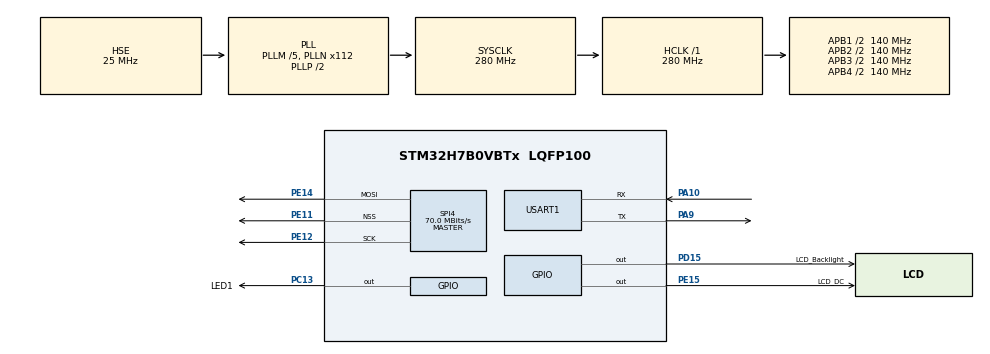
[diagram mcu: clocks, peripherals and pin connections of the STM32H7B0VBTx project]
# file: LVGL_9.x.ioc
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CORTEX_M7.CPU_DCache=Enabled
CORTEX_M7.CPU_ICache=Enabled
Mcu.Family=STM32H7
Mcu.Name=STM32H7B0VBTx
Mcu.Package=LQFP100
NVIC.PriorityGroup=NVIC_PRIORITYGROUP_4
PA10.Mode=Asynchronous
PA10.Signal=USART1_RX
PA13.Mode=Serial_Wire
PA13.Signal=DEBUG_JTMS-SWDIO
PA14.Mode=Serial_Wire
PA14.Signal=DEBUG_JTCK-SWCLK
PA9.Mode=Asynchronous
PA9.Signal=USART1_TX
PC13.GPIO_Label=LED1
PC13.Signal=GPIO_Output
PC14-OSC32_IN.Mode=LSE-External-Oscillator
PC14-OSC32_IN.Signal=RCC_OSC32_IN
PC15-OSC32_OUT.Mode=LSE-External-Oscillator
PC15-OSC32_OUT.Signal=RCC_OSC32_OUT
PD15.GPIO_Label=LCD_Backlight
PD15.GPIO_PuPd=GPIO_PULLDOWN
PD15.Signal=GPIO_Output
PE11.Mode=NSS_Signal_Hard_Output
PE11.Signal=SPI4_NSS
PE12.Mode=TX_Only_Simplex_Unidirect_Master
PE12.Signal=SPI4_SCK
PE14.Mode=TX_Only_Simplex_Unidirect_Master
PE14.Signal=SPI4_MOSI
PE15.GPIO_Label=LCD_DC
PE15.GPIO_Speed=GPIO_SPEED_FREQ_VERY_HIGH
PE15.Signal=GPIO_Output
PH0-OSC_IN.Mode=HSE-External-Oscillator
PH0-OSC_IN.Signal=RCC_OSC_IN
PH1-OSC_OUT.Mode=HSE-External-Oscillator
PH1-OSC_OUT.Signal=RCC_OSC_OUT
ProjectManager.HeapSize=0x1000
ProjectManager.StackSize=0x1000
ProjectManager.TargetToolchain=STM32CubeIDE
RCC.ADCFreq_Value=50390625
RCC.APB1Freq_Value=140000000
RCC.APB2Freq_Value=140000000
RCC.APB3Freq_Value=140000000
RCC.APB4Freq_Value=140000000
RCC.CDPPRE=RCC_APB3_DIV2
RCC.CDPPRE1=RCC_APB1_DIV2
RCC.CDPPRE2=RCC_APB2_DIV2
RCC.CortexFreq_Value=280000000
RCC.DIVM1=5
RCC.DIVN1=112
RCC.HCLKFreq_Value=280000000
RCC.HSE_VALUE=25000000
RCC.PLLFRACN=0
RCC.PLLSourceVirtual=RCC_PLLSOURCE_HSE
RCC.SRDPPRE=RCC_APB4_DIV2
RCC.SYSCLKFreq_VALUE=280000000
RCC.SYSCLKSource=RCC_SYSCLKSOURCE_PLLCLK
RCC.USBFreq_Value=280000000
SPI4.CalculateBaudRate=70.0 MBits/s
SPI4.DataSize=SPI_DATASIZE_8BIT
SPI4.Direction=SPI_DIRECTION_2LINES_TXONLY
SPI4.Mode=SPI_MODE_MASTER
SPI4.VirtualNSS=VM_NSSHARD
SPI4.VirtualType=VM_MASTER
USART1.VirtualMode-Asynchronous=VM_ASYNC
VP_MEMORYMAP_VS_MEMORYMAP.Mode=CurAppReg
board=custom

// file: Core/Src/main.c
/* USER CODE BEGIN Header */
/**
  ******************************************************************************
  * @file           : main.c
  * @brief          : Main program body
  ******************************************************************************
  * @attention
  *
  * Copyright (c) 2024 STMicroelectronics.
  * All rights reserved.
  *
  * This software is licensed under terms that can be found in the LICENSE file
  * in the root directory of this software component.
  * If no LICENSE file comes with this software, it is provided AS-IS.
  *
  ******************************************************************************
  */
/* USER CODE END Header */
#include "main.h"
#include "memorymap.h"
#include "spi.h"
#include "usart.h"
#include "gpio.h"

/* USER CODE BEGIN Includes */
#include "lvgl.h"
#include "lv_port_disp.h"
#include "lv_demo_benchmark.h"
/* USER CODE END Includes */

/* USER CODE BEGIN PV */
uint16_t color[26] = {
		RED, RED, RED, RED, RED,
		RED, RED, RED, RED, RED,
		RED, RED, RED, RED, RED,
		RED, RED, RED, RED, RED,
		RED, RED, RED, RED, RED
};

/* USER CODE END PV */

void SystemClock_Config(void);

int main(void)
{

	/* Enable the CPU Cache */

	/* Enable I-Cache---------------------------------------------------------*/
	//SCB_EnableICache();

	/* Enable D-Cache---------------------------------------------------------*/
	//SCB_EnableDCache();

	/* MCU Configuration--------------------------------------------------------*/

	/* Reset of all peripherals, Initializes the Flash interface and the Systick. */
	HAL_Init();

	/* Configure the system clock */
	SystemClock_Config();

	/* Initialize all configured peripherals */
	MX_GPIO_Init();
	MX_SPI4_Init();
	MX_USART1_UART_Init();
	/* USER CODE BEGIN 2 */
	RetargetInit(&huart1);
	printf("uart init finsh\r\n");
	lv_init();                                  /* lvgl系统初始化 */
	lv_port_disp_init();                        /* lvgl显示接口初始化,放在lv_init()的后面 */
	lv_demo_benchmark();
	/* USER CODE END 2 */

	/* Infinite loop */
	/* USER CODE BEGIN WHILE */
	while (1)
	{
		lv_task_handler();
//		LED1_Toggle;
//		HAL_Delay(3);
		/* USER CODE END WHILE */

	}
}

void SystemClock_Config(void)
{
	RCC_OscInitTypeDef RCC_OscInitStruct = {0};
	RCC_ClkInitTypeDef RCC_ClkInitStruct = {0};

	/*AXI clock gating */
	RCC->CKGAENR = 0xFFFFFFFF;

	/** Supply configuration update enable
	*/
	HAL_PWREx_ConfigSupply(PWR_LDO_SUPPLY);

	/** Configure the main internal regulator output voltage
	*/
	__HAL_PWR_VOLTAGESCALING_CONFIG(PWR_REGULATOR_VOLTAGE_SCALE0);

	while (!__HAL_PWR_GET_FLAG(PWR_FLAG_VOSRDY))
	{
	}

	/** Initializes the RCC Oscillators according to the specified parameters
	* in the RCC_OscInitTypeDef structure.
	*/
	RCC_OscInitStruct.OscillatorType = RCC_OSCILLATORTYPE_HSE;
	RCC_OscInitStruct.HSEState = RCC_HSE_ON;
	RCC_OscInitStruct.PLL.PLLState = RCC_PLL_ON;
	RCC_OscInitStruct.PLL.PLLSource = RCC_PLLSOURCE_HSE;
	RCC_OscInitStruct.PLL.PLLM = 5;
	RCC_OscInitStruct.PLL.PLLN = 112;
	RCC_OscInitStruct.PLL.PLLP = 2;
	RCC_OscInitStruct.PLL.PLLQ = 2;
	RCC_OscInitStruct.PLL.PLLR = 2;
	RCC_OscInitStruct.PLL.PLLRGE = RCC_PLL1VCIRANGE_2;
	RCC_OscInitStruct.PLL.PLLVCOSEL = RCC_PLL1VCOWIDE;
	RCC_OscInitStruct.PLL.PLLFRACN = 0;
	if (HAL_RCC_OscConfig(&RCC_OscInitStruct) != HAL_OK)
	{
		Error_Handler();
	}

	/** Initializes the CPU, AHB and APB buses clocks
	*/
	RCC_ClkInitStruct.ClockType = RCC_CLOCKTYPE_HCLK | RCC_CLOCKTYPE_SYSCLK
								  | RCC_CLOCKTYPE_PCLK1 | RCC_CLOCKTYPE_PCLK2
								  | RCC_CLOCKTYPE_D3PCLK1 | RCC_CLOCKTYPE_D1PCLK1;
	RCC_ClkInitStruct.SYSCLKSource = RCC_SYSCLKSOURCE_PLLCLK;
	RCC_ClkInitStruct.SYSCLKDivider = RCC_SYSCLK_DIV1;
	RCC_ClkInitStruct.AHBCLKDivider = RCC_HCLK_DIV1;
	RCC_ClkInitStruct.APB3CLKDivider = RCC_APB3_DIV2;
	RCC_ClkInitStruct.APB1CLKDivider = RCC_APB1_DIV2;
	RCC_ClkInitStruct.APB2CLKDivider = RCC_APB2_DIV2;
	RCC_ClkInitStruct.APB4CLKDivider = RCC_APB4_DIV2;

	if (HAL_RCC_ClockConfig(&RCC_ClkInitStruct, FLASH_LATENCY_6) != HAL_OK)
	{
		Error_Handler();
	}
}

void Error_Handler(void)
{
	__disable_irq();
	while (1)
	{
	}
}
